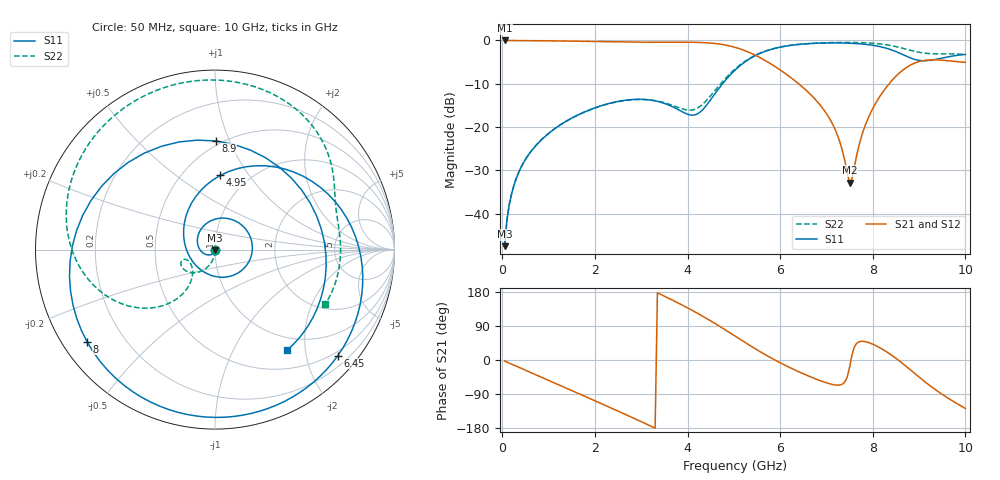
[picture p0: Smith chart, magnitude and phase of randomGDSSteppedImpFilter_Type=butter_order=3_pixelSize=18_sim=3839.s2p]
! freq	dB(S11)	phase(S11)	dB(S12)	phase(S12)
!  dB(S21)	phase(S21)	dB(S22)	phase(S22)
!S-par simulation data
#  GHz  S  DB  R 50
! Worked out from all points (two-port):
!   200 points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, 50 MHz to 10 GHz, reference 50 ohm
!   highest |S21| = -0.01 dB at 50 MHz (marker M1); lowest = -32.8 dB at 7.5 GHz (marker M2)
!   |S21| within 3 dB of the highest: start of sweep to 5.383 GHz
!   lowest |S11| = -47.5 dB at 50 MHz (marker M3), VSWR 1.01, Z = 50 - j0.423 ohm
!   |S11| at or under -10 dB: start of sweep to 4.756 GHz
!   |S22| runs from -47.4 to -0.5 dB; largest |S21 - S12| = 0
!   S11 on the Smith chart (normalised r, x): 50 MHz: 1.00, -0.01; 4.95 GHz: 0.74, +0.74; 6.45 GHz: 0.41, -2.63; 8 GHz: 0.07, -0.32; 8.9 GHz: 0.47, +0.89; 10 GHz: 0.79, -1.67
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0.05  -47.46 -93.4  -0.01 -2.8  -0.01 -2.8  -47.45 -89.7
0.2  -35.42 -107.9  -0.04 -10.8  -0.04 -10.8  -35.41 -93.3
0.5  -27.45 -135.6  -0.05 -26.8  -0.05 -26.8  -27.44 -99.0
1.15  -20.24 166.3  -0.12 -61.7  -0.12 -61.7  -20.21 -111.3
1.75  -16.61 114.0  -0.21 -94.0  -0.21 -94.0  -16.66 -123.8
2.65  -13.81 38.2  -0.37 -143.2  -0.37 -143.2  -13.87 -145.2
3.4  -14.20 -28.5  -0.42 174.4  -0.42 174.4  -14.11 -161.3
4.3  -16.27 -173.7  -0.49 117.5  -0.49 117.5  -14.98 -134.3
4.95  -7.64 85.8  -1.38 69.1  -1.38 69.1  -7.34 -133.2
5.05  -6.61 74.7  -1.67 61.3  -1.67 61.3  -6.37 -137.4
5.4  -3.88 39.5  -3.10 34.3  -3.10 34.3  -3.78 -155.6
5.8  -2.09 5.1  -5.42 5.7  -5.42 5.7  -2.06 -178.3
6.45  -0.88 -40.8  -10.45 -33.7  -10.45 -33.7  -0.87 147.1
6.7  -0.69 -56.4  -12.94 -46.7  -12.94 -46.7  -0.68 134.7
7.2  -0.58 -86.7  -20.87 -66.0  -20.87 -66.0  -0.49 110.5
7.5  -0.65 -105.9  -32.78 -18.8  -32.78 -18.8  -0.48 96.0
8  -1.13 -144.3  -15.71 41.6  -15.71 41.6  -0.66 70.9
8.35  -1.99 178.6  -10.04 17.4  -10.04 17.4  -1.11 52.5
8.65  -3.28 134.9  -6.84 -9.8  -6.84 -9.8  -1.82 37.6
8.9  -4.36 89.5  -5.26 -35.1  -5.26 -35.1  -2.52 27.1
9.35  -4.39 10.8  -4.49 -78.1  -4.49 -78.1  -3.09 10.4
10  -3.24 -54.2  -5.06 -128.0  -5.06 -128.0  -3.28 -26.4
